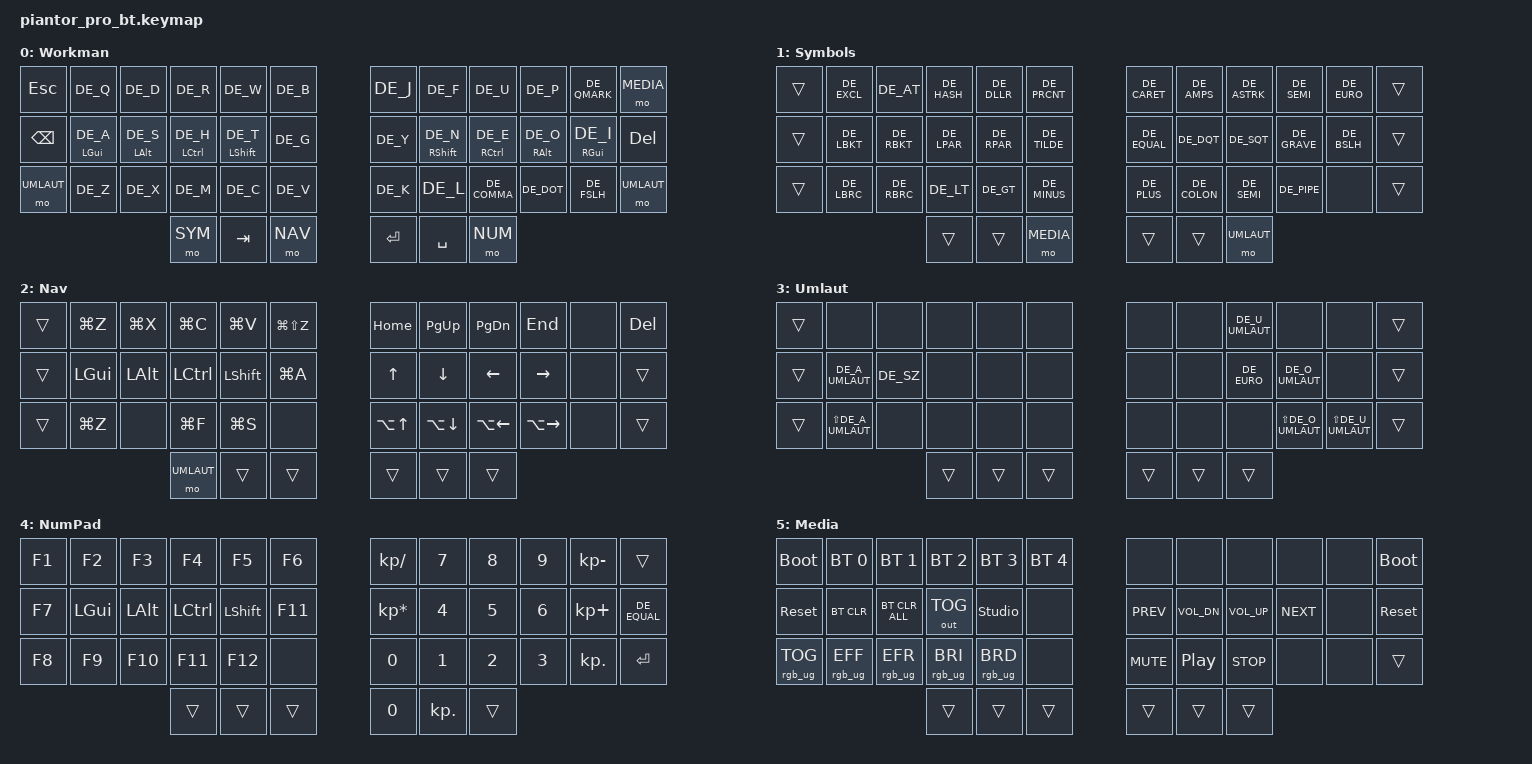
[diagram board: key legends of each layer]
/*
 * Copyright (c) 2020 The ZMK Contributors
 * SPDX-License-Identifier: MIT
 *
 * Piantor Pro BT - Workman Layout with Homerow Mods
 * German macOS Standard keyboard layout
 * Compatible with ZSA Moonlander (qGwKL) and Voyager (JJrMp) layouts
 */

#include <behaviors.dtsi>
#include <dt-bindings/zmk/bt.h>
#include <dt-bindings/zmk/keys.h>
#include <dt-bindings/zmk/outputs.h>
#include <dt-bindings/zmk/rgb.h>
#include "keys_de.h"

// ╔═══════════════════════════════════════════════════════════════╗
// ║                     LAYER DEFINITIONS                          ║
// ╚═══════════════════════════════════════════════════════════════╝

#define BASE    0
#define SYM     1
#define NAV     2
#define UMLAUT  3
#define NUM     4
#define MEDIA   5

// ╔═══════════════════════════════════════════════════════════════╗
// ║              KEY POSITION DEFINITIONS (42-key)                 ║
// ╠═══════════════════════════════════════════════════════════════╣
// ║  Piantor Pro Layout:                                           ║
// ║  ╭──────────────────────────╮ ╭──────────────────────────╮    ║
// ║  │  0   1   2   3   4   5   │ │   6   7   8   9  10  11  │    ║
// ║  │ 12  13  14  15  16  17   │ │  18  19  20  21  22  23  │    ║
// ║  │ 24  25  26  27  28  29   │ │  30  31  32  33  34  35  │    ║
// ║  ╰───────────╮ 36  37  38   │ │  39  40  41 ╭────────────╯    ║
// ║              ╰──────────────╯ ╰─────────────╯                  ║
// ╚═══════════════════════════════════════════════════════════════╝

#define KEYS_L 0 1 2 3 4 5 12 13 14 15 16 17 24 25 26 27 28 29      // Left hand keys
#define KEYS_R 6 7 8 9 10 11 18 19 20 21 22 23 30 31 32 33 34 35    // Right hand keys
#define THUMBS 36 37 38 39 40 41                                     // Thumb keys

/ {
    chosen { zmk,physical-layout = &default_layout; };
};

/ {
    // ╔═══════════════════════════════════════════════════════════════╗
    // ║                    CUSTOM BEHAVIORS                            ║
    // ╚═══════════════════════════════════════════════════════════════╝

    behaviors {
        // ┌─────────────────────────────────────────────────────────┐
        // │ Timeless Homerow Mods - Left Hand                       │
        // │ Activates modifier only when pressing right-hand keys   │
        // └─────────────────────────────────────────────────────────┘

        hml: home_row_mod_left {
            compatible = "zmk,behavior-hold-tap";
            #binding-cells = <2>;
            flavor = "balanced";
            tapping-term-ms = <280>;
            quick-tap-ms = <175>;           // Double-tap repeats the tap key
            require-prior-idle-ms = <150>;  // Prevents misfires during fast typing
            bindings = <&kp>, <&kp>;

            hold-trigger-key-positions = <KEYS_R THUMBS>;
            hold-trigger-on-release;        // Allows combining same-hand mods
        };

        // ┌─────────────────────────────────────────────────────────┐
        // │ Timeless Homerow Mods - Right Hand                      │
        // │ Activates modifier only when pressing left-hand keys    │
        // └─────────────────────────────────────────────────────────┘

        hmr: home_row_mod_right {
            compatible = "zmk,behavior-hold-tap";
            #binding-cells = <2>;
            flavor = "balanced";
            tapping-term-ms = <280>;
            quick-tap-ms = <175>;
            require-prior-idle-ms = <150>;
            bindings = <&kp>, <&kp>;

            hold-trigger-key-positions = <KEYS_L THUMBS>;
            hold-trigger-on-release;
        };

        // ┌─────────────────────────────────────────────────────────┐
        // │ Layer-Tap with better settings for thumb keys           │
        // └─────────────────────────────────────────────────────────┘

        lth: layer_tap_hold {
            compatible = "zmk,behavior-hold-tap";
            #binding-cells = <2>;
            flavor = "balanced";
            tapping-term-ms = <200>;
            quick-tap-ms = <175>;
            bindings = <&mo>, <&kp>;
        };
    };

    // ╔═══════════════════════════════════════════════════════════════╗
    // ║                         COMBOS                                 ║
    // ╚═══════════════════════════════════════════════════════════════╝

    combos {
        compatible = "zmk,combos";

        // Caps Word: T + N (both shift positions, 16 + 19)

        combo_caps_word {
            timeout-ms = <50>;
            key-positions = <16 19>;
            bindings = <&caps_word>;
            layers = <BASE>;
        };

        // Hyper Key (Cmd+Alt+Ctrl+Shift): Enter + Right Thumb Outer (40 + 41)

        combo_hyper {
            timeout-ms = <50>;
            key-positions = <40 41>;
            bindings = <&kp LS(LC(LA(LGUI)))>;
        };
    };

    // ╔═══════════════════════════════════════════════════════════════╗
    // ║                         KEYMAP                                 ║
    // ╚═══════════════════════════════════════════════════════════════╝

    keymap {
        compatible = "zmk,keymap";

        // ┏━━━━━━━━━━━━━━━━━━━━━━━━━━━━━━━━━━━━━━━━━━━━━━━━━━━━━━━━┓
        // ┃  Layer 0: BASE (Workman) - German macOS Standard        ┃
        // ┃  Homerow mods: Cmd-Alt-Ctrl-Shift (pinky to index)     ┃
        // ┃  ╭─────┬─────┬─────┬─────┬─────┬─────╮ ╭─────┬─────┬─────┬─────┬─────┬─────╮
        // ┃  │ ESC │  Q  │  D  │  R  │  W  │  B  │ │  J  │  F  │  U  │  P  │  ?  │ MED │
        // ┃  │ BSP │A/Gui│S/Alt│H/Ctl│T/Sft│  G  │ │  Y  │N/Sft│E/Ctl│O/Alt│I/Gui│ DEL │
        // ┃  │ UML │  Z  │  X  │  M  │  C  │  V  │ │  K  │  L  │  ,  │  .  │  /  │ UML │
        // ┃  ╰─────┴─────┴─────╮ SYM │ TAB │ NAV │ │ RET │ SPC │ NUM ╭─────┴─────┴─────╯
        // ┗━━━━━━━━━━━━━━━━━━━━━━━━━━━━━━━━━━━━━━━━━━━━━━━━━━━━━━━━┛

        base_layer {
            display-name = "Workman";
            bindings = <
&kp ESC        &kp DE_Q       &kp DE_D       &kp DE_R       &kp DE_W       &kp DE_B           &kp DE_J       &kp DE_F       &kp DE_U       &kp DE_P       &kp DE_QMARK   &mo MEDIA
&kp BSPC       &hml LGUI DE_A &hml LALT DE_S &hml LCTRL DE_H &hml LSHFT DE_T &kp DE_G         &kp DE_Y       &hmr RSHFT DE_N &hmr RCTRL DE_E &hmr RALT DE_O &hmr RGUI DE_I &kp DEL
&mo UMLAUT     &kp DE_Z       &kp DE_X       &kp DE_M       &kp DE_C       &kp DE_V           &kp DE_K       &kp DE_L       &kp DE_COMMA   &kp DE_DOT     &kp DE_FSLH    &mo UMLAUT
                                              &mo SYM        &kp TAB        &mo NAV            &kp RET        &kp SPACE      &mo NUM
            >;
        };

        // ┏━━━━━━━━━━━━━━━━━━━━━━━━━━━━━━━━━━━━━━━━━━━━━━━━━━━━━━━━┓
        // ┃  Layer 1: SYMBOLS (Voyager-aligned)                     ┃
        // ┃  Left: brackets grouped by type down rows               ┃
        // ┃  Right: common operators and quotes on homerow          ┃
        // ┃  ╭─────┬─────┬─────┬─────┬─────┬─────╮ ╭─────┬─────┬─────┬─────┬─────┬─────╮
        // ┃  │(ESC)│  !  │  @  │  #  │  $  │  %  │ │  ^  │  &  │  *  │  ;  │  €  │     │
        // ┃  │(BSP)│  [  │  ]  │  (  │  )  │  ~  │ │  =  │  "  │  '  │  `  │  \  │     │
        // ┃  │     │  {  │  }  │  <  │  >  │  -  │ │  +  │  :  │  ;  │  |  │     │     │
        // ┃  ╰─────┴─────┴─────╮     │     │ MED │ │     │     │ UML ╭─────┴─────┴─────╯
        // ┗━━━━━━━━━━━━━━━━━━━━━━━━━━━━━━━━━━━━━━━━━━━━━━━━━━━━━━━━┛

        sym_layer {
            display-name = "Symbols";
            bindings = <
&trans         &kp DE_EXCL    &kp DE_AT      &kp DE_HASH    &kp DE_DLLR    &kp DE_PRCNT       &kp DE_CARET   &kp DE_AMPS    &kp DE_ASTRK   &kp DE_SEMI    &kp DE_EURO    &trans
&trans         &kp DE_LBKT    &kp DE_RBKT    &kp DE_LPAR    &kp DE_RPAR    &kp DE_TILDE       &kp DE_EQUAL   &kp DE_DQT     &kp DE_SQT     &kp DE_GRAVE   &kp DE_BSLH    &trans
&trans         &kp DE_LBRC    &kp DE_RBRC    &kp DE_LT      &kp DE_GT      &kp DE_MINUS       &kp DE_PLUS    &kp DE_COLON   &kp DE_SEMI    &kp DE_PIPE    &none          &trans
                                              &trans         &trans         &mo MEDIA          &trans         &trans         &mo UMLAUT
            >;
        };

        // ┏━━━━━━━━━━━━━━━━━━━━━━━━━━━━━━━━━━━━━━━━━━━━━━━━━━━━━━━━┓
        // ┃  Layer 2: NAVIGATION & CONTROL                         ┃
        // ┃  Left: Mac editing shortcuts, Right: vim-style arrows  ┃
        // ┃  Note: Mac shortcuts use raw HID keycodes (not DE_)    ┃
        // ┃        because macOS Cmd shortcuts are position-based   ┃
        // ┃  ╭─────┬─────┬─────┬─────┬─────┬─────╮ ╭─────┬─────┬─────┬─────┬─────┬─────╮
        // ┃  │     │ Undo│ Cut │Copy │Paste│Redo  │ │HOME │PgUp │PgDn │ END │     │ DEL │
        // ┃  │     │ GUI │ ALT │ CTL │ SFT │ SelA │ │  ^  │  v  │  <  │  >  │     │     │
        // ┃  │     │ Undo│     │Find │Save │      │ │W-Up │W-Dn │W-Lf │W-Rt │     │     │
        // ┃  ╰─────┴─────┴─────╮ UML │     │     │ │     │     │     ╭─────┴─────┴─────╯
        // ┗━━━━━━━━━━━━━━━━━━━━━━━━━━━━━━━━━━━━━━━━━━━━━━━━━━━━━━━━┛

        nav_layer {
            display-name = "Nav";
            bindings = <
&trans         &kp LG(Z)      &kp LG(X)      &kp LG(C)      &kp LG(V)      &kp LG(LS(Z))      &kp HOME       &kp PG_UP      &kp PG_DN      &kp END        &none          &kp DEL
&trans         &kp LGUI       &kp LALT       &kp LCTRL      &kp LSHFT      &kp LG(A)          &kp UP         &kp DOWN       &kp LEFT       &kp RIGHT      &none          &trans
&trans         &kp LG(Z)      &none          &kp LG(F)      &kp LG(S)      &none              &kp LA(UP)     &kp LA(DOWN)   &kp LA(LEFT)   &kp LA(RIGHT)  &none          &trans
                                              &mo UMLAUT     &trans         &trans             &trans         &trans         &trans
            >;
        };

        // ┏━━━━━━━━━━━━━━━━━━━━━━━━━━━━━━━━━━━━━━━━━━━━━━━━━━━━━━━━┓
        // ┃  Layer 3: GERMAN UMLAUTS (direct keycodes)              ┃
        // ┃  German layout: umlauts are native keys, no macros      ┃
        // ┃  ╭─────┬─────┬─────┬─────┬─────┬─────╮ ╭─────┬─────┬─────┬─────┬─────┬─────╮
        // ┃  │     │     │     │     │     │     │ │     │     │  u  │     │     │     │
        // ┃  │     │  a  │  sz │     │     │     │ │     │     │  E  │  o  │     │     │
        // ┃  │     │  A  │     │     │     │     │ │     │     │     │  O  │  U  │     │
        // ┃  ╰─────┴─────┴─────╮     │     │     │ │     │     │     ╭─────┴─────┴─────╯
        // ┗━━━━━━━━━━━━━━━━━━━━━━━━━━━━━━━━━━━━━━━━━━━━━━━━━━━━━━━━┛

        umlaut_layer {
            display-name = "Umlaut";
            bindings = <
&trans         &none          &none          &none          &none          &none              &none          &none          &kp DE_U_UMLAUT &none         &none          &trans
&trans         &kp DE_A_UMLAUT &kp DE_SZ     &none          &none          &none              &none          &none          &kp DE_EURO    &kp DE_O_UMLAUT &none         &trans
&trans         &kp LS(DE_A_UMLAUT) &none     &none          &none          &none              &none          &none          &none          &kp LS(DE_O_UMLAUT) &kp LS(DE_U_UMLAUT) &trans
                                              &trans         &trans         &trans             &trans         &trans         &trans
            >;
        };

        // ┏━━━━━━━━━━━━━━━━━━━━━━━━━━━━━━━━━━━━━━━━━━━━━━━━━━━━━━━━┓
        // ┃  Layer 4: NUMPAD & FUNCTION KEYS                       ┃
        // ┃  KP_ keycodes for operators (layout-independent)       ┃
        // ┃  ╭─────┬─────┬─────┬─────┬─────┬─────╮ ╭─────┬─────┬─────┬─────┬─────┬─────╮
        // ┃  │ F1  │ F2  │ F3  │ F4  │ F5  │ F6  │ │  /  │  7  │  8  │  9  │  -  │     │
        // ┃  │ F7  │ GUI │ ALT │ CTL │ SFT │ F11 │ │  *  │  4  │  5  │  6  │  +  │  =  │
        // ┃  │ F8  │ F9  │ F10 │ F11 │ F12 │     │ │  0  │  1  │  2  │  3  │  .  │ RET │
        // ┃  ╰─────┴─────┴─────╮     │     │     │ │  0  │  .  │     ╭─────┴─────┴─────╯
        // ┗━━━━━━━━━━━━━━━━━━━━━━━━━━━━━━━━━━━━━━━━━━━━━━━━━━━━━━━━┛

        num_layer {
            display-name = "NumPad";
            bindings = <
&kp F1         &kp F2         &kp F3         &kp F4         &kp F5         &kp F6             &kp KP_DIVIDE  &kp N7         &kp N8         &kp N9         &kp KP_MINUS   &trans
&kp F7         &kp LGUI       &kp LALT       &kp LCTRL      &kp LSHFT      &kp F11            &kp KP_MULTIPLY &kp N4        &kp N5         &kp N6         &kp KP_PLUS    &kp DE_EQUAL
&kp F8         &kp F9         &kp F10        &kp F11        &kp F12        &none              &kp N0         &kp N1         &kp N2         &kp N3         &kp KP_DOT     &kp RET
                                              &trans         &trans         &trans             &kp N0         &kp KP_DOT     &trans
            >;
        };

        // ┏━━━━━━━━━━━━━━━━━━━━━━━━━━━━━━━━━━━━━━━━━━━━━━━━━━━━━━━━┓
        // ┃  Layer 5: MEDIA, RGB & BLUETOOTH                       ┃
        // ┃  System controls, BT profiles, RGB settings            ┃
        // ┗━━━━━━━━━━━━━━━━━━━━━━━━━━━━━━━━━━━━━━━━━━━━━━━━━━━━━━━━┛

        media_layer {
            display-name = "Media";
            bindings = <
&bootloader    &bt BT_SEL 0   &bt BT_SEL 1   &bt BT_SEL 2   &bt BT_SEL 3   &bt BT_SEL 4       &none          &none          &none          &none          &none          &bootloader
&sys_reset     &bt BT_CLR     &bt BT_CLR_ALL &out OUT_TOG    &studio_unlock &none              &kp C_PREV     &kp C_VOL_DN   &kp C_VOL_UP   &kp C_NEXT     &none          &sys_reset
&rgb_ug RGB_TOG &rgb_ug RGB_EFF &rgb_ug RGB_EFR &rgb_ug RGB_BRI &rgb_ug RGB_BRD &none          &kp C_MUTE     &kp C_PP       &kp C_STOP     &none          &none          &trans
                                              &trans         &trans         &trans             &trans         &trans         &trans
            >;
        };
    };
};
